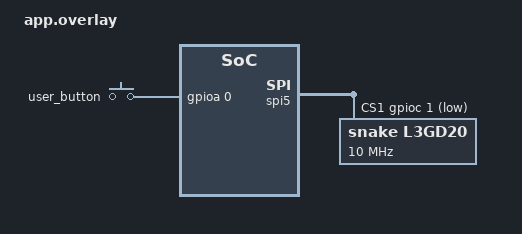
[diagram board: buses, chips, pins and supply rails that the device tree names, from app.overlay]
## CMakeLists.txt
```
# SPDX-License-Identifier: Apache-2.0

cmake_minimum_required(VERSION 3.20.0)

# App-local devicetree bindings under dts/bindings/ (e.g.
# dts/bindings/sensor/snake,l3gd20.yaml) are picked up automatically: the
# app source directory is always part of DTS_ROOT.
find_package(Zephyr REQUIRED HINTS $ENV{ZEPHYR_BASE})
project(snake)

target_sources(app PRIVATE
    src/font8x8.c
    src/l3gd20.c
    src/main.c
    src/snake.c
    src/snake_render.c
    src/tilt.c
)

target_include_directories(app PRIVATE include)
```

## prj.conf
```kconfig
# Peripherals used by the game.
CONFIG_GPIO=y
CONFIG_SPI=y
CONFIG_DISPLAY=y
# Framebuffer format consumed by display_write(): the app writes RGB565
# pixels (snake_render.c). This is already the Kconfig default, but pin it
# so the renderer's colour constants cannot silently drift. (Do not set
# &ltdc pixel-format in app.overlay: that is the LTDC->panel output format
# and must stay RGB_888.)
CONFIG_STM32_LTDC_RGB565=y

# Logging (deferred by default); tilt.h's angle line stays at DBG so it is
# silent unless the build/console log level is raised.
CONFIG_LOG=y

# tilt.c runs on floats on the M4F FPU; float args are also passed to
# LOG_INF/LOG_DBG format strings.
CONFIG_FPU=y
CONFIG_CBPRINTF_FP_SUPPORT=y

# Default (1024) is too small for the game state + Tilt/L3GD20 locals that
# main() keeps on the stack across the whole superloop.
CONFIG_MAIN_STACK_SIZE=4096

# CONFIG_MEMC is NOT set here: the stm32f429i_disc1 board's own
# Kconfig.defconfig does `config MEMC \n default y if STM32_LTDC`, and
# STM32_LTDC defaults to y whenever CONFIG_DISPLAY=y sees the board's LTDC
# node enabled -- confirmed from a successful `west build` of
# zephyr/samples/drivers/display for this board, whose generated .config
# has CONFIG_MEMC=y with a prj.conf containing only CONFIG_LOG=y and
# CONFIG_DISPLAY=y. Setting it here would be redundant.

# No shell, no touch/input, no USB (out of scope for this port).
```

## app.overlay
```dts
/*
 * Board overlay for stm32f429i_disc1: adds an alias for the red LED, fixes
 * the user button polarity for this board revision, adds the L3GD20 gyro
 * chip select alongside the LCD's on SPI5.
 *
 * The LTDC framebuffer format is NOT set here: in Zephyr v4.4.0 the &ltdc
 * `pixel-format` property is the LTDC -> panel *output* format and the
 * driver #errors on anything but RGB_888. The framebuffer (what
 * display_write() consumes) is selected by CONFIG_STM32_LTDC_RGB565 in
 * prj.conf.
 */

/ {
	aliases {
		led1 = &red_led_4;
	};
};

/* Upstream DTS declares the user button GPIO_ACTIVE_LOW, but on this board
 * PA0 is pulled low at rest and goes HIGH when pressed (UM1670 Table 7).
 * Confirm on hardware (task hardware step 3); revert if the button turns
 * out inverted. */
&user_button {
	gpios = <&gpioa 0 GPIO_ACTIVE_HIGH>;
};

/* SPI5 is shared by the LCD (board's mipi_dbi node, CS index 0, PC2) and
 * the L3GD20 gyroscope (CS index 1, PC1). Assigning cs-gpios here replaces
 * the board's single-entry property, so both chip selects must be listed. */
&spi5 {
	cs-gpios = <&gpioc 2 GPIO_ACTIVE_LOW>, <&gpioc 1 GPIO_ACTIVE_LOW>;

	l3gd20: l3gd20@1 {
		compatible = "snake,l3gd20";
		reg = <1>;
		spi-max-frequency = <10000000>;
	};
};
```

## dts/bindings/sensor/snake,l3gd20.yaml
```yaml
description: |
  L3GD20 / I3G4250D MEMS gyroscope on the stm32f429i_disc1 board (rev D01
  ships the L3GD20, WHO_AM_I 0xD4; rev E01+ ships the register-compatible
  I3G4250D, WHO_AM_I 0xD3 -- the board in use is the latter), driven
  directly by app code (src/l3gd20.c) rather than an in-tree Zephyr sensor
  driver: Zephyr's i3g4250d driver rejects the L3GD20's id, and the app
  driver handles both parts. This binding only exists to give the app a struct spi_dt_spec via
  DT_NODELABEL(l3gd20); it has no driver bound to "snake,l3gd20".

compatible: "snake,l3gd20"

include: [spi-device.yaml]
```

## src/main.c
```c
#include "l3gd20.h"
#include "snake.h"
#include "snake_render.h"
#include "tilt.h"

#include <zephyr/device.h>
#include <zephyr/drivers/display.h>
#include <zephyr/drivers/gpio.h>
#include <zephyr/kernel.h>
#include <zephyr/logging/log.h>

LOG_MODULE_REGISTER(snake, LOG_LEVEL_INF);

/* Stack budget is small; the game state (~1.5 KB body array) must never be
   a local variable. */
static SnakeGame game;
static TiltEstimator tilt;

static const struct gpio_dt_spec led0 = GPIO_DT_SPEC_GET(DT_ALIAS(led0), gpios);
static const struct gpio_dt_spec led1 = GPIO_DT_SPEC_GET(DT_ALIAS(led1), gpios);
static const struct gpio_dt_spec button = GPIO_DT_SPEC_GET(DT_ALIAS(sw0), gpios);
static const struct device *const display_dev = DEVICE_DT_GET(DT_CHOSEN(zephyr_display));

static void tilt_reset_after_blocking(TiltEstimator *t, float bias_x, float bias_y, uint32_t now, uint32_t *gyro_last);
static const char *dir_name(SnakeDirection d);

typedef enum {
    BTN_IDLE = 0,
    BTN_DEBOUNCE,
    BTN_PRESSED,
} ButtonFsmState;

/* Edge-detects the user button with a >=30 ms debounce: a raw HIGH arms the
   debounce timer, a drop before 30 ms is treated as a glitch and rearms
   from IDLE, and a HIGH sustained for 30 ms fires the edge exactly once.
   The FSM only rearms once the button is released. */
static bool Button_PollEdge(void)
{
    static ButtonFsmState btn_state = BTN_IDLE;
    static uint32_t btn_change_time = 0;

    bool raw = (gpio_pin_get_dt(&button) != 0);
    uint32_t now = k_uptime_get_32();

    switch (btn_state) {
        case BTN_IDLE:
            if (raw) {
                btn_state = BTN_DEBOUNCE;
                btn_change_time = now;
            }
            break;
        case BTN_DEBOUNCE:
            if (!raw) {
                btn_state = BTN_IDLE;
            } else if (now - btn_change_time >= 30) {
                btn_state = BTN_PRESSED;
                return true;
            }
            break;
        case BTN_PRESSED:
            if (!raw) {
                btn_state = BTN_IDLE;
            }
            break;
    }
    return false;
}

int main(void)
{
    if (!gpio_is_ready_dt(&led0) || !gpio_is_ready_dt(&led1) || !gpio_is_ready_dt(&button)) {
        LOG_ERR("GPIO device(s) not ready");
        return 0;
    }
    /* A failed button configure would make gpio_pin_get_dt() return a
       negative errno, which Button_PollEdge() would read as "pressed". */
    if (gpio_pin_configure_dt(&led0, GPIO_OUTPUT_INACTIVE) != 0 ||
        gpio_pin_configure_dt(&led1, GPIO_OUTPUT_INACTIVE) != 0 ||
        gpio_pin_configure_dt(&button, GPIO_INPUT) != 0) {
        LOG_ERR("GPIO pin configuration failed");
        return 0;
    }

    if (!device_is_ready(display_dev)) {
        LOG_ERR("Display device not ready");
        return 0;
    }
    display_blanking_off(display_dev);

    LOG_INF("L3GD20 gyroscope initializing");
    L3GD20_Init();

    Tilt_Init(&tilt, TILT_DEFAULT_MAP);
    SnakeRender_DrawMessage("HOLD STILL");

    /* One-time startup bias calibration: ~1 s of blocking sampling before
       the game loop starts. k_msleep is explicitly permitted here only. */
    float bias_x = 0.0f, bias_y = 0.0f;
    for (int i = 0; i < 100; i++) {
        k_msleep(10);
        float rx, ry, rz;
        L3GD20_ReadDPS(&rx, &ry, &rz);
        bias_x += rx;
        bias_y += ry;
    }
    bias_x /= 100.0f;
    bias_y /= 100.0f;
    Tilt_SetBias(&tilt, bias_x, bias_y);
    LOG_INF("Tilt bias measured: x=%.2f y=%.2f dps", (double)bias_x, (double)bias_y);

    Snake_Init(&game, 0xA5A5A5A5u);
    SnakeRender_DrawPlayfield(&game);
    LOG_INF("Snake game started, score=%u", (unsigned)game.score);

    uint32_t led3_last = 0, led4_last = 0;
    uint32_t tick_last = k_uptime_get_32();
    uint32_t gyro_last;
    uint32_t dbg_last = 0;
    tilt_reset_after_blocking(&tilt, bias_x, bias_y, k_uptime_get_32(), &gyro_last);

    while (1) {
        uint32_t now = k_uptime_get_32();
        if (now - led3_last >= 125) {
            gpio_pin_toggle_dt(&led0);
            led3_last = now;
        }
        if (now - led4_last >= 250) {
            gpio_pin_toggle_dt(&led1);
            led4_last = now;
        }

        if (now - gyro_last >= 10) {
            uint32_t dt_ms = now - gyro_last;
            gyro_last = now;

            float rx, ry, rz;
            L3GD20_ReadDPS(&rx, &ry, &rz);
            Tilt_Update(&tilt, rx, ry, (float)dt_ms / 1000.0f);

            SnakeDirection tilt_dir;
            if (Tilt_Direction(&tilt, &tilt_dir)) {
                if (game.state == SNAKE_STATE_RUNNING) {
                    Snake_SetDirection(&game, tilt_dir);
                }
            }
        }

        if (now - dbg_last >= 500) {
            dbg_last = now;
            LOG_DBG("Tilt angle_x=%.1f angle_y=%.1f dir=%s",
                    (double)tilt.angle_x, (double)tilt.angle_y,
                    tilt.has_last_direction ? dir_name(tilt.last_direction)
                                            : "NEUTRAL");
        }

        if (Button_PollEdge()) {
            if (game.state == SNAKE_STATE_RUNNING) {
                Snake_SetDirection(&game, (SnakeDirection)((game.heading + 1) % 4));
            } else {
                Snake_Init(&game, now);
                SnakeRender_DrawPlayfield(&game);
                tick_last = now;
                tilt_reset_after_blocking(&tilt, bias_x, bias_y, k_uptime_get_32(), &gyro_last);
                LOG_INF("Snake game restarted");
            }
        }

        if (game.state == SNAKE_STATE_RUNNING && (now - tick_last) >= 200) {
            tick_last = now;

            SnakeCell old_tail = game.body[game.length - 1];
            uint16_t prev_score = game.score;

            Snake_Step(&game);

            bool ate = (game.score != prev_score);
            if (game.state == SNAKE_STATE_RUNNING) {
                SnakeRender_UpdateStep(&game, old_tail.x, old_tail.y, ate);
                if (ate) {
                    LOG_INF("Snake ate food, score=%u", (unsigned)game.score);
                }
            } else {
                const char *msg = (game.state == SNAKE_STATE_WON) ? "YOU WIN" : "GAME OVER";
                SnakeRender_DrawEndScreen(&game, msg);
                tilt_reset_after_blocking(&tilt, bias_x, bias_y, k_uptime_get_32(), &gyro_last);
                LOG_INF("Snake %s, score=%u", msg, (unsigned)game.score);
            }
        }

        k_msleep(1);
    }
}

/* Resets the tilt estimator's angles (bias preserved) and re-anchors the
   gyro sample timer, so the blocking LCD redraw that just ran is not
   integrated as rotation on the next sample. */
static void tilt_reset_after_blocking(TiltEstimator *t, float bias_x, float bias_y, uint32_t now, uint32_t *gyro_last)
{
    Tilt_Init(t, TILT_DEFAULT_MAP);
    Tilt_SetBias(t, bias_x, bias_y);
    *gyro_last = now;
}

static const char *dir_name(SnakeDirection d)
{
    switch (d) {
        case SNAKE_DIR_RIGHT: return "RIGHT";
        case SNAKE_DIR_DOWN:  return "DOWN";
        case SNAKE_DIR_LEFT:  return "LEFT";
        case SNAKE_DIR_UP:    return "UP";
    }
    return "?";
}
```

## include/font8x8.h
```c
#ifndef FONT8X8_H
#define FONT8X8_H

#include <stdint.h>

#ifdef __cplusplus
extern "C" {
#endif

/* 8x8 bitmap font for printable ASCII (0x20-0x7E).
   Each char is 8 bytes; each byte is one row, LSB = leftmost pixel. */
extern const uint8_t font8x8[95][8];

#ifdef __cplusplus
}
#endif

#endif /* FONT8X8_H */
```

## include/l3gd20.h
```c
#ifndef L3GD20_H
#define L3GD20_H

#ifdef __cplusplus
extern "C" {
#endif

/* Initializes the L3GD20 MEMS gyroscope on the SPI bus and CS pin declared
   by the app-local `l3gd20` devicetree node (SPI5, shared with the LCD),
   and configures it for continuous 500 dps measurement. */
void L3GD20_Init(void);

/* Reads the current angular rate on all three axes, in degrees/second. */
void L3GD20_ReadDPS(float *x, float *y, float *z);

#ifdef __cplusplus
}
#endif

#endif /* L3GD20_H */
```

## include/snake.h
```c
#ifndef SNAKE_H
#define SNAKE_H

#include <stdbool.h>
#include <stdint.h>

#ifdef __cplusplus
extern "C" {
#endif

#define SNAKE_GRID_W 32
#define SNAKE_GRID_H 22
#define SNAKE_MAX_LENGTH (SNAKE_GRID_W * SNAKE_GRID_H)

typedef enum {
    SNAKE_DIR_RIGHT = 0,
    SNAKE_DIR_DOWN,
    SNAKE_DIR_LEFT,
    SNAKE_DIR_UP,
} SnakeDirection;

typedef enum {
    SNAKE_STATE_RUNNING = 0,
    SNAKE_STATE_GAME_OVER,
    SNAKE_STATE_WON,
} SnakeState;

typedef struct {
    uint8_t x, y;
} SnakeCell;

typedef struct {
    SnakeCell body[SNAKE_MAX_LENGTH]; /* body[0] = head */
    uint16_t length;
    SnakeCell food;
    uint16_t score;
    SnakeState state;
    SnakeDirection heading;     /* current committed direction */
    SnakeDirection pending_dir; /* next direction, applied at next Step */
    uint32_t seed;              /* PRNG state, advances on each food placement */
} SnakeGame;

/* Resets the game to its starting state: length 3, centred head heading
   right, score 0, state RUNNING, and food placed via the PRNG seeded from
   `seed` (0 is remapped to a fixed non-zero value). */
void Snake_Init(SnakeGame *g, uint32_t seed);

/* Records the direction the snake should turn to on the next Snake_Step.
   A 180-degree reversal relative to the current heading is ignored. */
void Snake_SetDirection(SnakeGame *g, SnakeDirection dir);

/* Advances the game by one tick. No-op unless state is RUNNING. */
void Snake_Step(SnakeGame *g);

/* Returns true if (x, y) is currently covered by the snake's body. */
bool Snake_CellOccupied(const SnakeGame *g, uint8_t x, uint8_t y);

#ifdef __cplusplus
}
#endif

#endif /* SNAKE_H */
```

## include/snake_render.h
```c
#ifndef SNAKE_RENDER_H
#define SNAKE_RENDER_H

#include <stdbool.h>
#include <stdint.h>

#include "snake.h"

#ifdef __cplusplus
extern "C" {
#endif

#define SNAKE_CELL_PX   10
#define SNAKE_ORIGIN_X  0
#define SNAKE_ORIGIN_Y  20 /* HUD occupies rows 0..19 */

/* Full redraw: clears the screen, draws the HUD, snake, and food.
   Only call on game start/restart. */
void SnakeRender_DrawPlayfield(const SnakeGame *g);

/* Incremental redraw for one Snake_Step: draws the new head, erases the
   vacated tail cell (unless food was eaten this step, in which case the
   snake grew and no tail cell was vacated), draws new food and refreshes
   the HUD score when food was eaten. */
void SnakeRender_UpdateStep(const SnakeGame *g, uint8_t old_tail_x, uint8_t old_tail_y, bool ate_food);

/* Overlays an end-of-game message and final score on top of the playfield
   (which is left visible underneath, i.e. no clear). */
void SnakeRender_DrawEndScreen(const SnakeGame *g, const char *msg);

/* Clears the screen and shows a single centred message line. Used for
   transient status screens (e.g. calibration) that precede a game. */
void SnakeRender_DrawMessage(const char *msg);

#ifdef __cplusplus
}
#endif

#endif /* SNAKE_RENDER_H */
```

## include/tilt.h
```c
#ifndef TILT_H
#define TILT_H

#include <stdbool.h>
#include <stdint.h>

#include "snake.h"

#ifdef __cplusplus
extern "C" {
#endif

#define TILT_DEADZONE_DEG  15.0f
#define TILT_MAX_DEG       45.0f
#define TILT_DECAY_TAU_S   3.0f

typedef struct {
    uint8_t ud_axis;  /* 0 = X, 1 = Y */
    uint8_t lr_axis;
    float   ud_sign;  /* +1/-1: positive maps to DOWN */
    float   lr_sign;  /* +1/-1: positive maps to RIGHT */
} TiltMap;

/* Determined empirically on hardware (2026-09-10, HAL firmware; re-confirmed
   2026-09-11 on the Zephyr port -- the board is a rev E01+ with an
   I3G4250D, register-compatible with the L3GD20) by logging angle_x/angle_y
   at DEBUG while dipping each screen edge in turn:

       TOP edge down    -> angle_y negative
       BOTTOM edge down -> angle_y positive
       LEFT edge down   -> angle_x positive
       RIGHT edge down  -> angle_x negative

   Hence up/down is driven by sensor Y (positive = DOWN) and left/right by
   sensor X inverted (negative = RIGHT). Do not infer this from the gyro
   package orientation on the PCB -- the LCD panel is physically rotated to
   get landscape, so the screen axes do not line up with the sensor axes. */
#define TILT_DEFAULT_MAP ((TiltMap){ .ud_axis = 1, .lr_axis = 0, .ud_sign = 1.0f, .lr_sign = -1.0f })

typedef struct {
    float angle_x, angle_y;
    float bias_x, bias_y;
    TiltMap map;
    bool has_last_direction;
    SnakeDirection last_direction;
} TiltEstimator;

/* Resets angles and bias to 0, stores the axis map, and clears the last
   reported direction back to neutral. */
void Tilt_Init(TiltEstimator *t, TiltMap map);

/* Stores the zero-rate offset (degrees/second) to subtract from every
   subsequent Tilt_Update sample. */
void Tilt_SetBias(TiltEstimator *t, float bias_x_dps, float bias_y_dps);

/* Subtracts bias, integrates the rate into angle over dt_s, applies an
   exponential decay toward 0, and clamps to +-TILT_MAX_DEG. No-op when
   dt_s <= 0. */
void Tilt_Update(TiltEstimator *t, float rate_x_dps, float rate_y_dps, float dt_s);

/* Maps the current angles through the axis map and reports a direction only
   when it differs from the last reported reading (neutral -> direction, or
   direction -> different direction). Returns false while neutral or while
   the same direction persists. */
bool Tilt_Direction(TiltEstimator *t, SnakeDirection *out);

#ifdef __cplusplus
}
#endif

#endif /* TILT_H */
```

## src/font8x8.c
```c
#include "font8x8.h"

/* 8x8 bitmap font for printable ASCII (0x20-0x7E).
   Each char is 8 bytes; each byte is one row, LSB = leftmost pixel.
   Based on the classic IBM 8x8 font (public domain). */
const uint8_t font8x8[95][8] = {
    { 0x00,0x00,0x00,0x00,0x00,0x00,0x00,0x00 }, /* 0x20 ' '  */
    { 0x18,0x3C,0x3C,0x18,0x18,0x00,0x18,0x00 }, /* 0x21 '!'  */
    { 0x66,0x66,0x24,0x00,0x00,0x00,0x00,0x00 }, /* 0x22 '"'  */
    { 0x36,0x36,0x7F,0x36,0x7F,0x36,0x36,0x00 }, /* 0x23 '#'  */
    { 0x0C,0x3E,0x03,0x1E,0x30,0x1F,0x0C,0x00 }, /* 0x24 '$'  */
    { 0x00,0x63,0x33,0x18,0x0C,0x66,0x63,0x00 }, /* 0x25 '%'  */
    { 0x1C,0x36,0x1C,0x6E,0x3B,0x33,0x6E,0x00 }, /* 0x26 '&'  */
    { 0x18,0x18,0x0C,0x00,0x00,0x00,0x00,0x00 }, /* 0x27 '\'' */
    { 0x18,0x0C,0x06,0x06,0x06,0x0C,0x18,0x00 }, /* 0x28 '('  */
    { 0x06,0x0C,0x18,0x18,0x18,0x0C,0x06,0x00 }, /* 0x29 ')'  */
    { 0x00,0x66,0x3C,0xFF,0x3C,0x66,0x00,0x00 }, /* 0x2A '*'  */
    { 0x00,0x0C,0x0C,0x3F,0x0C,0x0C,0x00,0x00 }, /* 0x2B '+'  */
    { 0x00,0x00,0x00,0x00,0x00,0x18,0x18,0x0C }, /* 0x2C ','  */
    { 0x00,0x00,0x00,0x3F,0x00,0x00,0x00,0x00 }, /* 0x2D '-'  */
    { 0x00,0x00,0x00,0x00,0x00,0x18,0x18,0x00 }, /* 0x2E '.'  */
    { 0x60,0x30,0x18,0x0C,0x06,0x03,0x01,0x00 }, /* 0x2F '/'  */
    { 0x3E,0x63,0x73,0x7B,0x6F,0x67,0x3E,0x00 }, /* 0x30 '0'  */
    { 0x0C,0x0E,0x0C,0x0C,0x0C,0x0C,0x3F,0x00 }, /* 0x31 '1'  */
    { 0x1E,0x33,0x30,0x1C,0x06,0x33,0x3F,0x00 }, /* 0x32 '2'  */
    { 0x1E,0x33,0x30,0x1C,0x30,0x33,0x1E,0x00 }, /* 0x33 '3'  */
    { 0x38,0x3C,0x36,0x33,0x7F,0x30,0x78,0x00 }, /* 0x34 '4'  */
    { 0x3F,0x03,0x1F,0x30,0x30,0x33,0x1E,0x00 }, /* 0x35 '5'  */
    { 0x1C,0x06,0x03,0x1F,0x33,0x33,0x1E,0x00 }, /* 0x36 '6'  */
    { 0x3F,0x33,0x30,0x18,0x0C,0x0C,0x0C,0x00 }, /* 0x37 '7'  */
    { 0x1E,0x33,0x33,0x1E,0x33,0x33,0x1E,0x00 }, /* 0x38 '8'  */
    { 0x1E,0x33,0x33,0x3E,0x30,0x18,0x0E,0x00 }, /* 0x39 '9'  */
    { 0x00,0x18,0x18,0x00,0x18,0x18,0x00,0x00 }, /* 0x3A ':'  */
    { 0x00,0x18,0x18,0x00,0x18,0x18,0x0C,0x00 }, /* 0x3B ';'  */
    { 0x18,0x0C,0x06,0x03,0x06,0x0C,0x18,0x00 }, /* 0x3C '<'  */
    { 0x00,0x00,0x3F,0x00,0x3F,0x00,0x00,0x00 }, /* 0x3D '='  */
    { 0x06,0x0C,0x18,0x30,0x18,0x0C,0x06,0x00 }, /* 0x3E '>'  */
    { 0x1E,0x33,0x30,0x18,0x18,0x00,0x18,0x00 }, /* 0x3F '?'  */
    { 0x3E,0x63,0x7B,0x7B,0x7B,0x03,0x1E,0x00 }, /* 0x40 '@'  */
    { 0x0C,0x1E,0x33,0x33,0x3F,0x33,0x33,0x00 }, /* 0x41 'A'  */
    { 0x3F,0x66,0x66,0x3E,0x66,0x66,0x3F,0x00 }, /* 0x42 'B'  */
    { 0x3C,0x66,0x03,0x03,0x03,0x66,0x3C,0x00 }, /* 0x43 'C'  */
    { 0x1F,0x36,0x66,0x66,0x66,0x36,0x1F,0x00 }, /* 0x44 'D'  */
    { 0x7F,0x46,0x16,0x1E,0x16,0x46,0x7F,0x00 }, /* 0x45 'E'  */
    { 0x7F,0x46,0x16,0x1E,0x16,0x06,0x0F,0x00 }, /* 0x46 'F'  */
    { 0x3C,0x66,0x03,0x03,0x73,0x66,0x7C,0x00 }, /* 0x47 'G'  */
    { 0x33,0x33,0x33,0x3F,0x33,0x33,0x33,0x00 }, /* 0x48 'H'  */
    { 0x1E,0x0C,0x0C,0x0C,0x0C,0x0C,0x1E,0x00 }, /* 0x49 'I'  */
    { 0x78,0x30,0x30,0x30,0x33,0x33,0x1E,0x00 }, /* 0x4A 'J'  */
    { 0x67,0x66,0x36,0x1E,0x36,0x66,0x67,0x00 }, /* 0x4B 'K'  */
    { 0x0F,0x06,0x06,0x06,0x46,0x66,0x7F,0x00 }, /* 0x4C 'L'  */
    { 0x63,0x77,0x7F,0x7F,0x6B,0x63,0x63,0x00 }, /* 0x4D 'M'  */
    { 0x63,0x67,0x6F,0x7B,0x73,0x63,0x63,0x00 }, /* 0x4E 'N'  */
    { 0x1C,0x36,0x63,0x63,0x63,0x36,0x1C,0x00 }, /* 0x4F 'O'  */
    { 0x3F,0x66,0x66,0x3E,0x06,0x06,0x0F,0x00 }, /* 0x50 'P'  */
    { 0x1E,0x33,0x33,0x33,0x3B,0x1E,0x38,0x00 }, /* 0x51 'Q'  */
    { 0x3F,0x66,0x66,0x3E,0x36,0x66,0x67,0x00 }, /* 0x52 'R'  */
    { 0x1E,0x33,0x07,0x0E,0x38,0x33,0x1E,0x00 }, /* 0x53 'S'  */
    { 0x3F,0x2D,0x0C,0x0C,0x0C,0x0C,0x1E,0x00 }, /* 0x54 'T'  */
    { 0x33,0x33,0x33,0x33,0x33,0x33,0x3F,0x00 }, /* 0x55 'U'  */
    { 0x33,0x33,0x33,0x33,0x33,0x1E,0x0C,0x00 }, /* 0x56 'V'  */
    { 0x63,0x63,0x63,0x6B,0x7F,0x77,0x63,0x00 }, /* 0x57 'W'  */
    { 0x63,0x63,0x36,0x1C,0x1C,0x36,0x63,0x00 }, /* 0x58 'X'  */
    { 0x33,0x33,0x33,0x1E,0x0C,0x0C,0x1E,0x00 }, /* 0x59 'Y'  */
    { 0x7F,0x63,0x31,0x18,0x4C,0x66,0x7F,0x00 }, /* 0x5A 'Z'  */
    { 0x1E,0x06,0x06,0x06,0x06,0x06,0x1E,0x00 }, /* 0x5B '['  */
    { 0x03,0x06,0x0C,0x18,0x30,0x60,0x40,0x00 }, /* 0x5C '\\' */
    { 0x1E,0x18,0x18,0x18,0x18,0x18,0x1E,0x00 }, /* 0x5D ']'  */
    { 0x08,0x1C,0x36,0x63,0x00,0x00,0x00,0x00 }, /* 0x5E '^'  */
    { 0x00,0x00,0x00,0x00,0x00,0x00,0x00,0xFF }, /* 0x5F '_'  */
    { 0x0C,0x0C,0x18,0x00,0x00,0x00,0x00,0x00 }, /* 0x60 '`'  */
    { 0x00,0x00,0x1E,0x30,0x3E,0x33,0x6E,0x00 }, /* 0x61 'a'  */
    { 0x07,0x06,0x3E,0x66,0x66,0x66,0x3B,0x00 }, /* 0x62 'b'  */
    { 0x00,0x00,0x1E,0x33,0x03,0x33,0x1E,0x00 }, /* 0x63 'c'  */
    { 0x38,0x30,0x3E,0x33,0x33,0x33,0x6E,0x00 }, /* 0x64 'd'  */
    { 0x00,0x00,0x1E,0x33,0x3F,0x03,0x1E,0x00 }, /* 0x65 'e'  */
    { 0x1C,0x36,0x06,0x0F,0x06,0x06,0x0F,0x00 }, /* 0x66 'f'  */
    { 0x00,0x00,0x6E,0x33,0x33,0x3E,0x30,0x1F }, /* 0x67 'g'  */
    { 0x07,0x06,0x36,0x6E,0x66,0x66,0x67,0x00 }, /* 0x68 'h'  */
    { 0x0C,0x00,0x0E,0x0C,0x0C,0x0C,0x1E,0x00 }, /* 0x69 'i'  */
    { 0x30,0x00,0x30,0x30,0x30,0x33,0x33,0x1E }, /* 0x6A 'j'  */
    { 0x07,0x06,0x66,0x36,0x1E,0x36,0x67,0x00 }, /* 0x6B 'k'  */
    { 0x0E,0x0C,0x0C,0x0C,0x0C,0x0C,0x1E,0x00 }, /* 0x6C 'l'  */
    { 0x00,0x00,0x33,0x7F,0x7F,0x6B,0x63,0x00 }, /* 0x6D 'm'  */
    { 0x00,0x00,0x1F,0x33,0x33,0x33,0x33,0x00 }, /* 0x6E 'n'  */
    { 0x00,0x00,0x1E,0x33,0x33,0x33,0x1E,0x00 }, /* 0x6F 'o'  */
    { 0x00,0x00,0x3B,0x66,0x66,0x3E,0x06,0x0F }, /* 0x70 'p'  */
    { 0x00,0x00,0x6E,0x33,0x33,0x3E,0x30,0x78 }, /* 0x71 'q'  */
    { 0x00,0x00,0x3B,0x6E,0x66,0x06,0x0F,0x00 }, /* 0x72 'r'  */
    { 0x00,0x00,0x3E,0x03,0x1E,0x30,0x1F,0x00 }, /* 0x73 's'  */
    { 0x08,0x0C,0x3E,0x0C,0x0C,0x2C,0x18,0x00 }, /* 0x74 't'  */
    { 0x00,0x00,0x33,0x33,0x33,0x33,0x6E,0x00 }, /* 0x75 'u'  */
    { 0x00,0x00,0x33,0x33,0x33,0x1E,0x0C,0x00 }, /* 0x76 'v'  */
    { 0x00,0x00,0x63,0x6B,0x7F,0x7F,0x36,0x00 }, /* 0x77 'w'  */
    { 0x00,0x00,0x63,0x36,0x1C,0x36,0x63,0x00 }, /* 0x78 'x'  */
    { 0x00,0x00,0x33,0x33,0x33,0x3E,0x30,0x1F }, /* 0x79 'y'  */
    { 0x00,0x00,0x3F,0x19,0x0C,0x26,0x3F,0x00 }, /* 0x7A 'z'  */
    { 0x38,0x0C,0x0C,0x07,0x0C,0x0C,0x38,0x00 }, /* 0x7B '{'  */
    { 0x18,0x18,0x18,0x00,0x18,0x18,0x18,0x00 }, /* 0x7C '|'  */
    { 0x07,0x0C,0x0C,0x38,0x0C,0x0C,0x07,0x00 }, /* 0x7D '}'  */
    { 0x6E,0x3B,0x00,0x00,0x00,0x00,0x00,0x00 }, /* 0x7E '~'  */
};
```

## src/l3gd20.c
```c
#include "l3gd20.h"

#include <stdbool.h>
#include <string.h>

#include <zephyr/device.h>
#include <zephyr/drivers/spi.h>
#include <zephyr/kernel.h>
#include <zephyr/logging/log.h>

LOG_MODULE_REGISTER(l3gd20, LOG_LEVEL_INF);

/* SPI5 bus shared with the LCD (SCK=PF7, MISO=PF8, MOSI=PF9); CS=PC1 is
   driven by the SPI driver itself via the `l3gd20` node's entry in
   `&spi5 { cs-gpios = ... }` (see app.overlay) -- no manual GPIO here. */
static const struct spi_dt_spec gyro_spi =
    SPI_DT_SPEC_GET(DT_NODELABEL(l3gd20), SPI_WORD_SET(8) | SPI_OP_MODE_MASTER);

/* L3GD20 register map (subset actually used) */
#define L3GD20_WHO_AM_I_ADDR   0x0F
#define L3GD20_CTRL_REG1_ADDR  0x20
#define L3GD20_CTRL_REG4_ADDR  0x23
#define L3GD20_OUT_X_L_ADDR    0x28

#define L3GD20_I_AM_L3GD20     0xD4
#define L3GD20_I_AM_L3GD20_TR  0xD5
/* Board rev E01+ ships the register-compatible I3G4250D instead (same
   CTRL_REG1/CTRL_REG4 values and +-500 dps sensitivity used below). Seen
   on the actual board in use: WHO_AM_I=0xD3. */
#define L3GD20_I_AM_I3G4250D   0xD3

/* Address-byte control bits (SPI read/write protocol, see datasheet) */
#define L3GD20_READ_CMD   0x80
#define L3GD20_MULTI_CMD  0x40

/* CTRL_REG1: normal/active mode, ODR1, bandwidth 4, X/Y/Z enabled */
#define L3GD20_CTRL_REG1_VALUE  0x3F
/* CTRL_REG4: continuous update, LSB-first, +-500 dps full scale */
#define L3GD20_CTRL_REG4_VALUE  0x10

/* Sensitivity for the +-500 dps full-scale setting above, in mdps/LSB */
#define L3GD20_SENSITIVITY_500DPS  17.50f

/* Largest read used is the 6-byte X/Y/Z burst; +1 for the address byte. */
#define L3GD20_MAX_READ_LEN  6

static void gyro_write_reg(uint8_t reg, uint8_t value)
{
    uint8_t tx[2] = { reg, value };
    const struct spi_buf tx_buf = { .buf = tx, .len = sizeof(tx) };
    const struct spi_buf_set tx_set = { .buffers = &tx_buf, .count = 1 };

    int ret = spi_write_dt(&gyro_spi, &tx_set);
    if (ret != 0) {
        LOG_ERR("L3GD20: spi_write_dt failed (reg=0x%02X): %d", reg, ret);
    }
}

/* One spi_transceive_dt call covering the address byte and `len` data
   bytes, so CS stays asserted across the whole transaction (the L3GD20
   auto-increments its register pointer on each clocked byte while CS is
   low; a separate write-then-read would deassert CS in between and break
   that). rx[0] is a garbage byte clocked out while the address byte is
   being shifted in and is discarded -- only rx[1..len] is real data. */
static void gyro_read(uint8_t start_reg, uint8_t *out, size_t len, bool multi)
{
    uint8_t tx[1 + L3GD20_MAX_READ_LEN] = { 0 };
    uint8_t rx[1 + L3GD20_MAX_READ_LEN] = { 0 };

    tx[0] = start_reg | L3GD20_READ_CMD | (multi ? L3GD20_MULTI_CMD : 0);

    const struct spi_buf tx_buf = { .buf = tx, .len = len + 1 };
    const struct spi_buf rx_buf = { .buf = rx, .len = len + 1 };
    const struct spi_buf_set tx_set = { .buffers = &tx_buf, .count = 1 };
    const struct spi_buf_set rx_set = { .buffers = &rx_buf, .count = 1 };

    int ret = spi_transceive_dt(&gyro_spi, &tx_set, &rx_set);
    if (ret != 0) {
        LOG_ERR("L3GD20: spi_transceive_dt failed (reg=0x%02X): %d", start_reg, ret);
        memset(out, 0, len);
        return;
    }

    memcpy(out, &rx[1], len);
}

void L3GD20_Init(void)
{
    LOG_DBG("L3GD20: init start");

    uint8_t id = 0;
    gyro_read(L3GD20_WHO_AM_I_ADDR, &id, 1, false);
    if (id != L3GD20_I_AM_L3GD20 && id != L3GD20_I_AM_L3GD20_TR &&
        id != L3GD20_I_AM_I3G4250D) {
        LOG_ERR("L3GD20: unexpected WHO_AM_I=0x%02X (gyroscope not detected)", id);
    } else {
        LOG_INF("L3GD20: WHO_AM_I=0x%02X (%s)", id,
                id == L3GD20_I_AM_I3G4250D ? "I3G4250D" : "L3GD20");
    }

    gyro_write_reg(L3GD20_CTRL_REG1_ADDR, L3GD20_CTRL_REG1_VALUE);
    gyro_write_reg(L3GD20_CTRL_REG4_ADDR, L3GD20_CTRL_REG4_VALUE);

    /* Datasheet: allow ~100 ms turn-on time after leaving power-down before
       trusting the output. */
    k_msleep(100);

    LOG_DBG("L3GD20: init done");
}

void L3GD20_ReadDPS(float *x, float *y, float *z)
{
    uint8_t raw[6];
    gyro_read(L3GD20_OUT_X_L_ADDR, raw, sizeof(raw), true);

    int16_t rx = (int16_t)((raw[1] << 8) | raw[0]);
    int16_t ry = (int16_t)((raw[3] << 8) | raw[2]);
    int16_t rz = (int16_t)((raw[5] << 8) | raw[4]);

    *x = (float)rx * L3GD20_SENSITIVITY_500DPS / 1000.0f;
    *y = (float)ry * L3GD20_SENSITIVITY_500DPS / 1000.0f;
    *z = (float)rz * L3GD20_SENSITIVITY_500DPS / 1000.0f;
}
```

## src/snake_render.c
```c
#include "snake_render.h"

#include <stdio.h>

#include <zephyr/device.h>
#include <zephyr/drivers/display.h>

#include "font8x8.h"

/* Logical (landscape) canvas size the game draws to; the LTDC framebuffer
   behind `display_dev` is portrait (240 wide x 320 tall), so every logical
   rect/glyph is rotated 90 degrees before being written. See
   SNAKE_RENDER_FLIP_PX / SNAKE_RENDER_FLIP_PY below. */
#define SNAKE_LOGICAL_W  320
#define SNAKE_LOGICAL_H  240

/* How the logical landscape canvas lands in the portrait framebuffer:
   logical x always runs along framebuffer y and logical y along
   framebuffer x (the 90 degree turn), and each of the two framebuffer axes
   is independently either straight or reversed. Both switches were settled
   on hardware (2026-09-11): the LTDC scans the panel as a mirror image of
   the HAL firmware's MADCTL=MV setup (MADCTL has no effect on the RGB
   path), so a plain rotation cannot match the old orientation -- both axes
   have to be reversed. If the picture is upside down flip
   SNAKE_RENDER_FLIP_PX; if the text reads backwards flip
   SNAKE_RENDER_FLIP_PY; do not touch tilt.h. */
#define SNAKE_RENDER_FLIP_PX  1  /* 1: logical y=0 lands at framebuffer x=239 */
#define SNAKE_RENDER_FLIP_PY  1  /* 1: logical x=0 lands at framebuffer y=319 */

/* RGB565 colours actually used by this renderer. */
#define SNAKE_BG_COLOR    0x0000u /* black */
#define SNAKE_BODY_COLOR  0x07E0u /* green */
#define SNAKE_FOOD_COLOR  0xFFE0u /* yellow */
#define SNAKE_HUD_FG      0xFFFFu /* white */
#define SNAKE_HUD_BG      SNAKE_BG_COLOR
#define SNAKE_END_FG      0xFFFFu /* white */
#define SNAKE_END_BG      SNAKE_BG_COLOR

static const struct device *const display_dev = DEVICE_DT_GET(DT_CHOSEN(zephyr_display));

/* Widest single-row fill ever issued: a full-screen clear rotates to a
   240-wide portrait fill (SNAKE_LOGICAL_H). Bounded static storage only. */
static uint16_t row_buf[SNAKE_LOGICAL_H];

/* Maps a logical landscape rect (lx, ly, w, h) to the portrait framebuffer
   rect (px, py, pw, ph) and fills it a row at a time. */
static void fill_rect_logical(uint16_t lx, uint16_t ly, uint16_t w, uint16_t h, uint16_t color)
{
    uint16_t px = SNAKE_RENDER_FLIP_PX ? (uint16_t)(SNAKE_LOGICAL_H - ly - h) : ly;
    uint16_t py = SNAKE_RENDER_FLIP_PY ? (uint16_t)(SNAKE_LOGICAL_W - lx - w) : lx;
    uint16_t pw = h;
    uint16_t ph = w;

    for (uint16_t i = 0; i < pw; i++) {
        row_buf[i] = color;
    }

    struct display_buffer_descriptor desc = {
        .buf_size = (size_t)pw * 2u,
        .width = pw,
        .height = 1,
        .pitch = pw,
    };

    for (uint16_t row = 0; row < ph; row++) {
        display_write(display_dev, px, (uint16_t)(py + row), &desc, row_buf);
    }
}

static void cell_to_px(uint8_t x, uint8_t y, uint16_t *lx, uint16_t *ly)
{
    *lx = (uint16_t)(SNAKE_ORIGIN_X + (uint16_t)x * SNAKE_CELL_PX);
    *ly = (uint16_t)(SNAKE_ORIGIN_Y + (uint16_t)y * SNAKE_CELL_PX);
}

static void draw_cell(uint8_t x, uint8_t y, uint16_t color)
{
    uint16_t lx, ly;
    cell_to_px(x, y, &lx, &ly);
    fill_rect_logical(lx, ly, SNAKE_CELL_PX, SNAKE_CELL_PX, color);
}

/* Rotates one 8x8 glyph the same direction as fill_rect_logical and writes
   it in a single display_write at the rect-rotated position of
   (gx, gy, 8, 8). */
static void draw_glyph_logical(uint16_t gx, uint16_t gy, char c, uint16_t fg, uint16_t bg)
{
    if (c < 0x20 || c > 0x7E) {
        c = '?';
    }
    const uint8_t *glyph = font8x8[c - 0x20];

    uint16_t glyph_buf[8][8];
    for (int row = 0; row < 8; row++) {
        uint8_t bits = glyph[row];
        for (int col = 0; col < 8; col++) {
            uint16_t color = (bits & (1 << col)) ? fg : bg;
            /* glyph_buf[fb y offset][fb x offset]: logical x (col) runs
               along framebuffer y, logical y (row) along framebuffer x. */
            int fy = SNAKE_RENDER_FLIP_PY ? 7 - col : col;
            int fx = SNAKE_RENDER_FLIP_PX ? 7 - row : row;
            glyph_buf[fy][fx] = color;
        }
    }

    uint16_t px = SNAKE_RENDER_FLIP_PX ? (uint16_t)(SNAKE_LOGICAL_H - gy - 8) : gy;
    uint16_t py = SNAKE_RENDER_FLIP_PY ? (uint16_t)(SNAKE_LOGICAL_W - gx - 8) : gx;

    struct display_buffer_descriptor desc = {
        .buf_size = sizeof(glyph_buf),
        .width = 8,
        .height = 8,
        .pitch = 8,
    };
    display_write(display_dev, px, py, &desc, glyph_buf);
}

static void draw_string_logical(uint16_t x, uint16_t y, const char *str, uint16_t fg, uint16_t bg)
{
    while (*str) {
        draw_glyph_logical(x, y, *str++, fg, bg);
        x += 8;
        if (x + 8 > SNAKE_LOGICAL_W) {
            x = 0;
            y += 8;
        }
    }
}

static void draw_hud(const SnakeGame *g)
{
    char line[24];
    snprintf(line, sizeof(line), "SCORE: %u", (unsigned)g->score);
    fill_rect_logical(0, 0, SNAKE_LOGICAL_W, SNAKE_ORIGIN_Y, SNAKE_HUD_BG);
    draw_string_logical(4, 4, line, SNAKE_HUD_FG, SNAKE_HUD_BG);
}

void SnakeRender_DrawPlayfield(const SnakeGame *g)
{
    fill_rect_logical(0, 0, SNAKE_LOGICAL_W, SNAKE_LOGICAL_H, SNAKE_BG_COLOR);
    draw_hud(g);

    for (uint16_t i = 0; i < g->length; i++) {
        draw_cell(g->body[i].x, g->body[i].y, SNAKE_BODY_COLOR);
    }
    draw_cell(g->food.x, g->food.y, SNAKE_FOOD_COLOR);
}

void SnakeRender_UpdateStep(const SnakeGame *g, uint8_t old_tail_x, uint8_t old_tail_y, bool ate_food)
{
    draw_cell(g->body[0].x, g->body[0].y, SNAKE_BODY_COLOR);

    if (!ate_food) {
        draw_cell(old_tail_x, old_tail_y, SNAKE_BG_COLOR);
    } else {
        draw_cell(g->food.x, g->food.y, SNAKE_FOOD_COLOR);
        draw_hud(g);
    }
}

void SnakeRender_DrawEndScreen(const SnakeGame *g, const char *msg)
{
    char score_line[24];
    snprintf(score_line, sizeof(score_line), "SCORE: %u", (unsigned)g->score);

    uint16_t y = SNAKE_LOGICAL_H / 2 - 8;
    draw_string_logical(4, y, msg, SNAKE_END_FG, SNAKE_END_BG);
    draw_string_logical(4, (uint16_t)(y + 16), score_line, SNAKE_END_FG, SNAKE_END_BG);
}

void SnakeRender_DrawMessage(const char *msg)
{
    fill_rect_logical(0, 0, SNAKE_LOGICAL_W, SNAKE_LOGICAL_H, SNAKE_BG_COLOR);

    uint16_t y = SNAKE_LOGICAL_H / 2 - 8;
    draw_string_logical(4, y, msg, SNAKE_END_FG, SNAKE_END_BG);
}
```

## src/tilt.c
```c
#include "tilt.h"

#include <math.h>

void Tilt_Init(TiltEstimator *t, TiltMap map)
{
    t->angle_x = 0.0f;
    t->angle_y = 0.0f;
    t->bias_x = 0.0f;
    t->bias_y = 0.0f;
    t->map = map;
    t->has_last_direction = false;
}

void Tilt_SetBias(TiltEstimator *t, float bias_x_dps, float bias_y_dps)
{
    t->bias_x = bias_x_dps;
    t->bias_y = bias_y_dps;
}

void Tilt_Update(TiltEstimator *t, float rate_x_dps, float rate_y_dps, float dt_s)
{
    if (dt_s <= 0.0f) {
        return;
    }

    float rx = rate_x_dps - t->bias_x;
    float ry = rate_y_dps - t->bias_y;

    t->angle_x += rx * dt_s;
    t->angle_y += ry * dt_s;

    /* Exponential decay toward 0. Must stay multiplicative (not the linear
       approximation angle -= angle*dt_s/tau), which can overshoot past 0
       and flip sign for a large dt_s, breaking the monotonic-return
       guarantee and firing a spurious opposite direction. */
    float decay = expf(-dt_s / TILT_DECAY_TAU_S);
    t->angle_x *= decay;
    t->angle_y *= decay;

    if (t->angle_x > TILT_MAX_DEG) t->angle_x = TILT_MAX_DEG;
    if (t->angle_x < -TILT_MAX_DEG) t->angle_x = -TILT_MAX_DEG;
    if (t->angle_y > TILT_MAX_DEG) t->angle_y = TILT_MAX_DEG;
    if (t->angle_y < -TILT_MAX_DEG) t->angle_y = -TILT_MAX_DEG;
}

static void tilt_apply_map(const TiltEstimator *t, float *ud, float *lr)
{
    float axis_val[2] = { t->angle_x, t->angle_y };
    *ud = axis_val[t->map.ud_axis] * t->map.ud_sign;
    *lr = axis_val[t->map.lr_axis] * t->map.lr_sign;
}

bool Tilt_Direction(TiltEstimator *t, SnakeDirection *out)
{
    float ud, lr;
    tilt_apply_map(t, &ud, &lr);

    float ud_mag = fabsf(ud);
    float lr_mag = fabsf(lr);
    bool ud_dominant = (ud_mag >= lr_mag);
    float dominant_mag = ud_dominant ? ud_mag : lr_mag;
    bool is_direction = (dominant_mag >= TILT_DEADZONE_DEG);

    SnakeDirection candidate;
    if (ud_dominant) {
        candidate = (ud > 0.0f) ? SNAKE_DIR_DOWN : SNAKE_DIR_UP;
    } else {
        candidate = (lr > 0.0f) ? SNAKE_DIR_RIGHT : SNAKE_DIR_LEFT;
    }

    if (is_direction) {
        if (!t->has_last_direction || t->last_direction != candidate) {
            t->has_last_direction = true;
            t->last_direction = candidate;
            *out = candidate;
            return true;
        }
        return false;
    }

    /* Neutral: forget the last reported direction so the same direction can
       re-fire later. Updating this only inside the return-true branch would
       leave a decayed-to-neutral estimator unable to ever re-report the
       same direction again. */
    if (t->has_last_direction) {
        t->has_last_direction = false;
    }
    return false;
}
```
